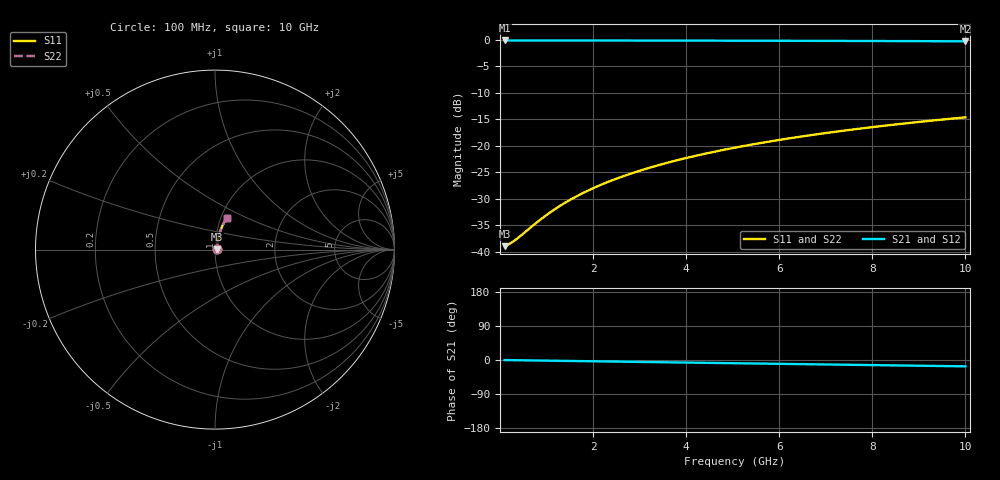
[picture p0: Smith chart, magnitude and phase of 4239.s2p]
# Hz S RI R 50.00
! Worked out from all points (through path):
!   100 points, 100 MHz to 10 GHz, reference 50 ohm
!   highest |S21| = -0.10 dB at 100 MHz (marker M1); lowest = -0.3 dB at 10 GHz (marker M2)
!   group delay of S21, straight-line fit = 4.66 ps
!   lowest |S11| = -39.0 dB at 100 MHz (marker M3), VSWR 1.02, Z = 51.1 + j0.191 ohm
!   |S11| at or under -10 dB: start of sweep to end of sweep
!   |S22| runs from -39.0 to -14.6 dB; largest |S21 - S12| = 0
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1e8  0.0111 0.00187  0.9889 -0.00292  0.9889 -0.00292  0.0111 0.00187
2e8  0.0112 0.00373  0.9888 -0.00584  0.9888 -0.00584  0.0112 0.00373
3e8  0.0113 0.0056  0.9887 -0.00876  0.9887 -0.00876  0.0113 0.0056
4e8  0.0114 0.00747  0.9886 -0.0117  0.9886 -0.0117  0.0114 0.00747
8e8  0.0117 0.0149  0.9882 -0.0233  0.9882 -0.0233  0.0117 0.0149
1.1e9  0.0121 0.0205  0.9878 -0.0321  0.9878 -0.0321  0.0121 0.0205
1.4e9  0.0126 0.0261  0.9873 -0.0408  0.9873 -0.0408  0.0126 0.0261
1.6e9  0.013 0.0298  0.9869 -0.0466  0.9869 -0.0466  0.013 0.0298
1.8e9  0.0134 0.0335  0.9864 -0.0525  0.9864 -0.0525  0.0134 0.0335
2.1e9  0.014 0.0391  0.9857 -0.0612  0.9857 -0.0612  0.014 0.0391
2.5e9  0.0151 0.0464  0.9845 -0.0727  0.9845 -0.0727  0.0151 0.0464
2.9e9  0.0163 0.0538  0.9832 -0.0843  0.9832 -0.0843  0.0163 0.0538
3.4e9  0.0181 0.0629  0.9812 -0.0987  0.9812 -0.0987  0.0181 0.0629
3.8e9  0.0197 0.0702  0.9794 -0.1102  0.9794 -0.1102  0.0197 0.0702
4.2e9  0.0215 0.0774  0.9775 -0.1216  0.9775 -0.1216  0.0215 0.0774
4.6e9  0.0234 0.0845  0.9753 -0.133  0.9753 -0.133  0.0234 0.0845
5.1e9  0.0261 0.0934  0.9724 -0.1471  0.9724 -0.1471  0.0261 0.0934
5.9e9  0.0309 0.1074  0.9671 -0.1696  0.9671 -0.1696  0.0309 0.1074
6.7e9  0.0363 0.1211  0.9612 -0.1917  0.9612 -0.1917  0.0363 0.1211
7.5e9  0.0423 0.1345  0.9545 -0.2136  0.9545 -0.2136  0.0423 0.1345
8.4e9  0.0498 0.1491  0.9462 -0.2378  0.9462 -0.2378  0.0498 0.1491
1e10  0.0648 0.174  0.9295 -0.2797  0.9295 -0.2797  0.0648 0.174
